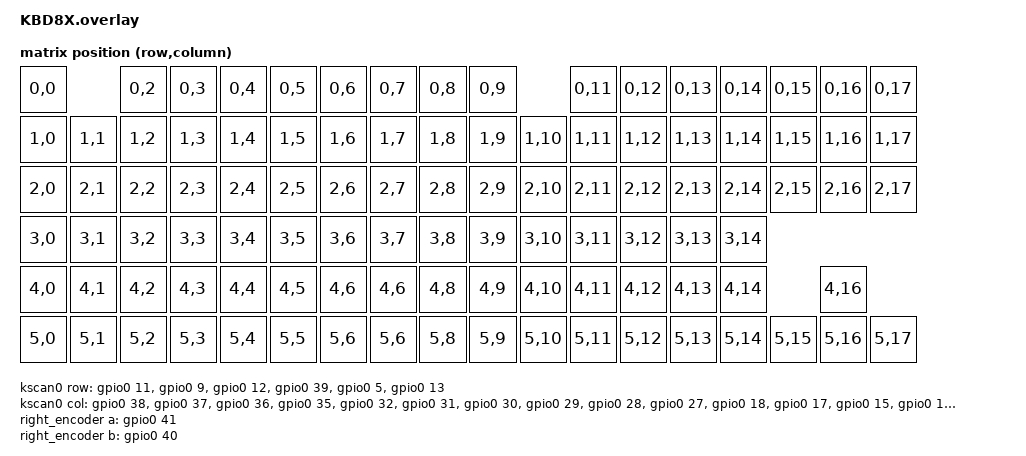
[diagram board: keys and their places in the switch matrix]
/*
 * Copyright (c) 2023 The ZMK Contributors
 * SPDX-License-Identifier: MIT
 */

#include <dt-bindings/zmk/matrix_transform.h>

/ {

    chosen {
        zmk,kscan = &kscan0;
        zmk,matrix-transform = &default_transform;
    };

    default_transform: keymap_transform_0 {
        compatible = "zmk,matrix-transform";
        columns = <15>;
        rows = <5>;

//  ------- Switch Matrix ----------
//
//  Column     0 |   1 |   2 |   3 |   4 |   5 |   6 |   7 |   8 |   9 |  10 |  11 |  12 |  13 |  14 |  15 |  16 |  17 |
//          ============================================================================================================
//  Row 0 ||  S0 |     |  S1 |  S2 |  S3 |  S4 |  S5 |  S6 |  S7 |  S8 |     | S9  | S10 | S11 | S12 | S13 | S14 | S15 |
//  Row 1 ||  S0 |  S1 |  S2 |  S3 |  S4 |  S5 |  S6 |  S7 |  S8 |  S9 | S10 | S11 | S12 | S13 | S14 | S15 | S16 | S17 |
//  Row 2 ||  S0 |  S1 |  S2 |  S3 |  S4 |  S5 |  S6 |  S7 |  S8 |  S9 | S10 | S11 | S12 | S13 | S14 | S15 | S16 | S17 |
//  Row 3 ||  S0 |  S1 |  S2 |  S3 |  S4 |  S5 |  S6 |  S7 |  S8 |  S9 | S10 | S11 | S12 | S13 | S14 |     |     |     |
//  Row 4 ||  S0 |  S1 |  S2 |  S3 |  S4 |  S5 |  S6 |  S7 |  S8 |  S9 | S10 | S11 | S12 | S13 | S14 |     | S15 |     |
//  Row 5 ||  S0 |  S1 |  S2 |  S3 |  S4 |  S5 |  S6 |  S7 |  S8 |  S9 | S10 | S11 | S12 | S13 | S14 | S15 | S16 | S17 |
//     -----------------------------------------------------------------------------------------------------------------
//
        map = <
RC(0,0)         RC(0,2) RC(0,3) RC(0,4) RC(0,5) RC(0,6) RC(0,7) RC(0,8) RC(0,9)          RC(0,11) RC(0,12) RC(0,13) RC(0,14) RC(0,15) RC(0,16) RC(0,17)
RC(1,0) RC(1,1) RC(1,2) RC(1,3) RC(1,4) RC(1,5) RC(1,6) RC(1,7) RC(1,8) RC(1,9) RC(1,10) RC(1,11) RC(1,12) RC(1,13) RC(1,14) RC(1,15) RC(1,16) RC(1,17)
RC(2,0) RC(2,1) RC(2,2) RC(2,3) RC(2,4) RC(2,5) RC(2,6) RC(2,7) RC(2,8) RC(2,9) RC(2,10) RC(2,11) RC(2,12) RC(2,13) RC(2,14) RC(2,15) RC(2,16) RC(2,17)
RC(3,0) RC(3,1) RC(3,2) RC(3,3) RC(3,4) RC(3,5) RC(3,6) RC(3,7) RC(3,8) RC(3,9) RC(3,10) RC(3,11) RC(3,12) RC(3,13) RC(3,14)
RC(4,0) RC(4,1) RC(4,2) RC(4,3) RC(4,4) RC(4,5) RC(4,6) RC(4,6) RC(4,8) RC(4,9) RC(4,10) RC(4,11) RC(4,12) RC(4,13) RC(4,14)          RC(4,16)
RC(5,0) RC(5,1) RC(5,2) RC(5,3) RC(5,4) RC(5,5) RC(5,6) RC(5,6) RC(5,8) RC(5,9) RC(5,10) RC(5,11) RC(5,12) RC(5,13) RC(5,14) RC(5,15) RC(5,16) RC(5,17)
        >;
    };

    kscan0: kscan {
        compatible = "zmk,kscan-gpio-matrix";

        diode-direction = "col2row";
        row-gpios
            = <&gpio0 11 (GPIO_ACTIVE_HIGH | GPIO_PULL_DOWN)>
            , <&gpio0 9  (GPIO_ACTIVE_HIGH | GPIO_PULL_DOWN)>
            , <&gpio0 12 (GPIO_ACTIVE_HIGH | GPIO_PULL_DOWN)>
            , <&gpio0 39 (GPIO_ACTIVE_HIGH | GPIO_PULL_DOWN)>
            , <&gpio0 5  (GPIO_ACTIVE_HIGH | GPIO_PULL_DOWN)>
            , <&gpio0 13 (GPIO_ACTIVE_HIGH | GPIO_PULL_DOWN)>
            ;
        col-gpios
            = <&gpio0 38 GPIO_ACTIVE_HIGH>
            , <&gpio0 37 GPIO_ACTIVE_HIGH>
            , <&gpio0 36 GPIO_ACTIVE_HIGH>
            , <&gpio0 35 GPIO_ACTIVE_HIGH>
            , <&gpio0 32 GPIO_ACTIVE_HIGH>
            , <&gpio0 31 GPIO_ACTIVE_HIGH>
            , <&gpio0 30 GPIO_ACTIVE_HIGH>
            , <&gpio0 29 GPIO_ACTIVE_HIGH>
            , <&gpio0 28 GPIO_ACTIVE_HIGH>
            , <&gpio0 27 GPIO_ACTIVE_HIGH>
            , <&gpio0 18 GPIO_ACTIVE_HIGH>
            , <&gpio0 17 GPIO_ACTIVE_HIGH>
            , <&gpio0 15 GPIO_ACTIVE_HIGH>
            , <&gpio0 16 GPIO_ACTIVE_HIGH>
            , <&gpio0 14 GPIO_ACTIVE_HIGH>
            , <&gpio0 4  GPIO_ACTIVE_HIGH>
            , <&gpio0 3  GPIO_ACTIVE_HIGH>
            , <&gpio0 2  GPIO_ACTIVE_HIGH>
            ;
    };
        right_encoder: right_encoder {
        compatible = "alps,ec11";
        label = "R_ENCODER";
        resolution = <4>;
        status = "disabled";
        a-gpios = <&gpio0 41 (GPIO_ACTIVE_HIGH | GPIO_PULL_UP)>;
        b-gpios = <&gpio0 40 (GPIO_ACTIVE_HIGH | GPIO_PULL_UP)>;
    };

    sensors {
        compatible = "zmk,keymap-sensors";
        sensors = <&right_encoder>;
        triggers-per-rotation = <20>;
    };
};
